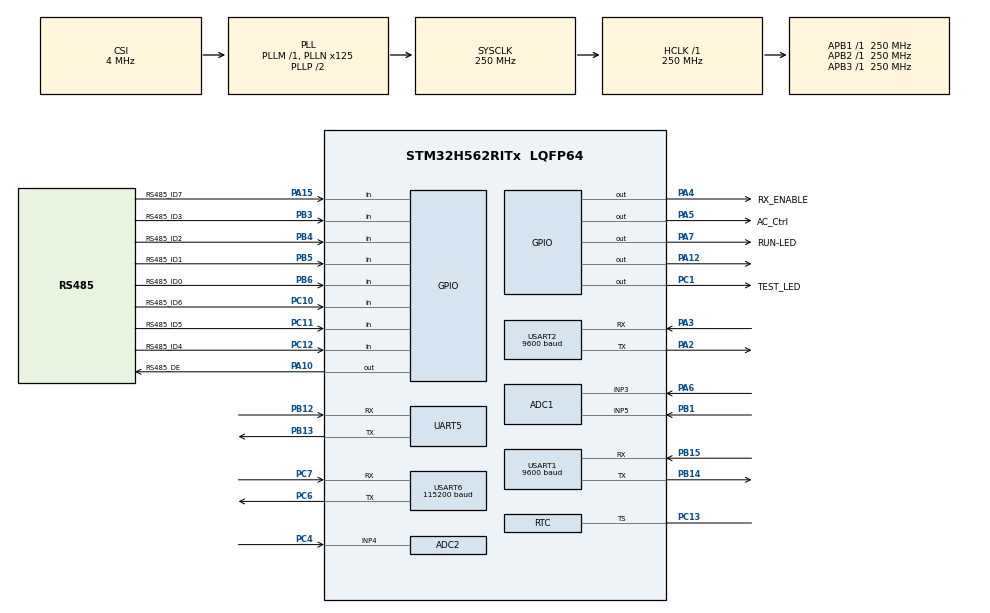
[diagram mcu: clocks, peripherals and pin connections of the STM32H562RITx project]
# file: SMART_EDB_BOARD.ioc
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ADC1.Channel-2\#ChannelRegularConversion=ADC_CHANNEL_3
ADC1.ClockPrescaler=ADC_CLOCK_ASYNC_DIV2
ADC1.ContinuousConvMode=DISABLE
ADC1.ConversionDataManagement=ADC_CONVERSIONDATA_DR
ADC1.DMAContinuousRequests=ENABLE
ADC1.EnableAnalogWatchDog1=false
ADC1.EnableAnalogWatchDog2=false
ADC1.EnableInjectedConversion=ENABLE
ADC1.EnableInjectedOversampling=ENABLE
ADC1.ExternalTrigConv=ADC_EXTERNALTRIG_T6_TRGO
ADC1.InjMonitoredBy-5\#ChannelInjectedConversion=__NULL
ADC1.InjNumberOfConversion=1
ADC1.InjOversamplingRatio=ADC_OVERSAMPLING_RATIO_2
ADC1.InjOversamplingRightShift=ADC_RIGHTBITSHIFT_1
ADC1.InjectedChannel-5\#ChannelInjectedConversion=ADC_CHANNEL_5
ADC1.InjectedOffsetNumber-5\#ChannelInjectedConversion=ADC_OFFSET_NONE
ADC1.InjectedRank-5\#ChannelInjectedConversion=1
ADC1.InjectedSamplingTime-5\#ChannelInjectedConversion=ADC_SAMPLETIME_24CYCLES_5
ADC1.MonitoredBy-2\#ChannelRegularConversion=__NULL
ADC1.NbrOfConversion=1
ADC1.NbrOfConversionFlag=1
ADC1.OffsetNumber-2\#ChannelRegularConversion=ADC_OFFSET_NONE
ADC1.Rank-2\#ChannelRegularConversion=1
ADC1.SamplingTime-2\#ChannelRegularConversion=ADC_SAMPLETIME_6CYCLES_5
ADC1.master=1
ADC2.Channel-0\#ChannelRegularConversion=ADC_CHANNEL_4
ADC2.ClockPrescaler=ADC_CLOCK_ASYNC_DIV2
ADC2.MonitoredBy-0\#ChannelRegularConversion=__NULL
ADC2.NbrOfConversionFlag=1
ADC2.OffsetNumber-0\#ChannelRegularConversion=ADC_OFFSET_NONE
ADC2.Rank-0\#ChannelRegularConversion=1
ADC2.SamplingTime-0\#ChannelRegularConversion=ADC_SAMPLETIME_2CYCLES_5
BOOTPATH.BootPathName=LEGACY
BOOTPATH.UserSelectedBootPath=LEGACY
CORTEX_M33_NS.userName=CORTEX_M33
GPDMA1.CIRCULARMODE_GPDMACH5=ENABLE
GPDMA1.DESTDATAWIDTH_GPDMACH5=DMA_DEST_DATAWIDTH_HALFWORD
GPDMA1.DESTINC_GPDMACH5=DMA_DINC_INCREMENTED
GPDMA1.IPHANDLE_GPDMACH5-SIMPLEREQUEST_GPDMACH5=__NULL
GPDMA1.PRIORITY_LL_CIRCULAR_GPDMACH5=DMA_LOW_PRIORITY_HIGH_WEIGHT
GPDMA1.REQUEST_GPDMACH5=GPDMA1_REQUEST_ADC1
GPDMA1.SRCDATAWIDTH_GPDMACH5=DMA_SRC_DATAWIDTH_HALFWORD
Mcu.Family=STM32H5
Mcu.Name=STM32H562RITx
Mcu.Package=LQFP64
NVIC.ADC1_IRQn=true\:0\:0\:false\:false\:true\:true\:true\:true
NVIC.ADC2_IRQn=true\:0\:0\:false\:false\:true\:true\:true\:true
NVIC.GPDMA1_Channel5_IRQn=true\:0\:0\:false\:false\:true\:false\:true\:true
NVIC.PriorityGroup=NVIC_PRIORITYGROUP_4
NVIC.USART1_IRQn=true\:0\:0\:false\:false\:true\:true\:true\:true
NVIC.USART2_IRQn=true\:0\:0\:false\:false\:true\:true\:true\:true
NVIC.USART6_IRQn=true\:0\:0\:false\:false\:true\:true\:true\:true
PA10.GPIO_Label=RS485_DE
PA10.Signal=GPIO_Output
PA12.Signal=GPIO_Output
PA13(JTMS/SWDIO).Mode=Serial_Wire
PA13(JTMS/SWDIO).Signal=DEBUG_JTMS-SWDIO
PA14(JTCK/SWCLK).Mode=Serial_Wire
PA14(JTCK/SWCLK).Signal=DEBUG_JTCK-SWCLK
PA15.GPIO_Label=RS485_ID7
PA15.GPIO_PuPd=GPIO_PULLDOWN
PA15.Signal=GPIO_Input
PA2.Mode=Asynchronous
PA2.Signal=USART2_TX
PA3.Mode=Asynchronous
PA3.Signal=USART2_RX
PA4.GPIO_Label=RX_ENABLE
PA4.Signal=GPIO_Output
PA5.GPIO_Label=AC_Ctrl
PA5.PinState=GPIO_PIN_SET
PA5.Signal=GPIO_Output
PA6.Signal=ADCx_INP3
PA7.GPIO_Label=RUN-LED
PA7.Signal=GPIO_Output
PB1.Signal=ADCx_INP5
PB3.GPIO_Label=RS485_ID3
PB3.GPIO_PuPd=GPIO_PULLDOWN
PB3.Signal=GPIO_Input
PB4.GPIO_Label=RS485_ID2
PB4.GPIO_PuPd=GPIO_PULLDOWN
PB4.Signal=GPIO_Input
PB5.GPIO_Label=RS485_ID1
PB5.GPIO_PuPd=GPIO_PULLDOWN
PB5.Signal=GPIO_Input
PB6.GPIO_Label=RS485_ID0
PB6.GPIO_PuPd=GPIO_PULLDOWN
PB6.Signal=GPIO_Input
PB12.Mode=Asynchronous
PB12.Signal=UART5_RX
PB13.Mode=Asynchronous
PB13.Signal=UART5_TX
PB14.Mode=Asynchronous
PB14.Signal=USART1_TX
PB15.Mode=Asynchronous
PB15.Signal=USART1_RX
PC1.GPIO_Label=TEST_LED
PC1.Signal=GPIO_Output
PC13.Mode=Timestamp enabled
PC13.Signal=RTC_TS
PC14-OSC32_IN(OSC32_IN).Mode=LSE-External-Oscillator
PC14-OSC32_IN(OSC32_IN).Signal=RCC_OSC32_IN
PC15-OSC32_OUT(OSC32_OUT).Mode=LSE-External-Oscillator
PC15-OSC32_OUT(OSC32_OUT).Signal=RCC_OSC32_OUT
PC4.Signal=ADCx_INP4
PC6.Mode=Asynchronous
PC6.Signal=USART6_TX
PC7.Mode=Asynchronous
PC7.Signal=USART6_RX
PC10.GPIO_Label=RS485_ID6
PC10.GPIO_PuPd=GPIO_PULLDOWN
PC10.Signal=GPIO_Input
PC11.GPIO_Label=RS485_ID5
PC11.GPIO_PuPd=GPIO_PULLDOWN
PC11.Signal=GPIO_Input
PC12.GPIO_Label=RS485_ID4
PC12.GPIO_PuPd=GPIO_PULLDOWN
PC12.Signal=GPIO_Input
PH0-OSC_IN(PH0).Mode=HSE-External-Oscillator
PH0-OSC_IN(PH0).Signal=RCC_OSC_IN
PH1-OSC_OUT(PH1).Mode=HSE-External-Oscillator
PH1-OSC_OUT(PH1).Signal=RCC_OSC_OUT
ProjectManager.HeapSize=0x800
ProjectManager.StackSize=0x800
ProjectManager.TargetToolchain=STM32CubeIDE
RCC.ADCCLockSelection=RCC_ADCDACCLKSOURCE_PLL2R
RCC.ADCFreq_Value=21739130.43478261
RCC.AHBFreq_Value=250000000
RCC.APB1Freq_Value=250000000
RCC.APB1TimFreq_Value=250000000
RCC.APB2Freq_Value=250000000
RCC.APB2TimFreq_Value=250000000
RCC.APB3Freq_Value=250000000
RCC.CSI_VALUE=4000000
RCC.CortexFreq_Value=250000000
RCC.EPOD_VALUE=4000000
RCC.HCLKFreq_Value=250000000
RCC.HSE_VALUE=25000000
RCC.HSI48_VALUE=48000000
RCC.HSI_VALUE=64000000
RCC.LSIRC_VALUE=32000
RCC.PLL2FRACN=0
RCC.PLL2M=5
RCC.PLL2N=100
RCC.PLL2R=23
RCC.PLL2Source=RCC_PLL2_SOURCE_HSE
RCC.PLL3FRACN=0
RCC.PLLFRACN=0
RCC.PLLN=125
RCC.RTCClockSelection=RCC_RTCCLKSOURCE_LSE
RCC.SYSCLKFreq_VALUE=250000000
RCC.SYSCLKSource=RCC_SYSCLKSOURCE_PLLCLK
RCC.USBFreq_Value=48000000
RCC.VCOOutputFreq_Value=500000000
SH.ADCx_INP3.0=ADC1_INP3,IN3-Single-Ended
SH.ADCx_INP4.0=ADC2_INP4,IN4-Single-Ended
SH.ADCx_INP5.0=ADC1_INP5,IN5-Single-Ended
TIM2.PeriodNoDither=276
TIM2.Prescaler=0
TIM2.TIM_MasterOutputTrigger=TIM_TRGO_UPDATE
TIM6.PeriodNoDither=624
TIM6.TIM_MasterOutputTrigger=TIM_TRGO_UPDATE
USART1.BaudRate=9600
USART1.VirtualMode=VM_ASYNC
USART1.VirtualMode-Asynchronous=VM_ASYNC
USART2.BaudRate=9600
USART2.VirtualMode=VM_ASYNC
USART2.VirtualMode-Asynchronous=VM_ASYNC
USART6.BaudRate=115200
USART6.VirtualMode=VM_ASYNC
VP_BOOTPATH_VS_BOOTPATH.Mode=BP_Activate
VP_CORTEX_M33_NS_VS_Hclk.Mode=Hclk_Mode
VP_GPDMA1_VS_GPDMACH5.Mode=SIMPLEREQUEST_GPDMACH5
VP_MEMORYMAP_VS_MEMORYMAP.Mode=CurAppReg
VP_PWR_VS_DBSignals.Mode=DisableDeadBatterySignals
VP_PWR_VS_LPOM.Mode=PowerOptimisation
VP_PWR_VS_SECSignals.Mode=Security/Privilege
VP_RTC_VS_RTC_Activate.Mode=RTC_Enabled
VP_RTC_VS_RTC_Calendar.Mode=RTC_Calendar
VP_TIM2_VS_ClockSourceINT.Mode=Internal
VP_TIM6_VS_ClockSourceINT.Mode=Enable_Timer
board=custom

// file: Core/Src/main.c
/* USER CODE BEGIN Header */
/**
  ******************************************************************************
  * @file           : main.c
  * @brief          : Main program body
  ******************************************************************************
  * @attention
  *
  * Copyright (c) 2026 STMicroelectronics.
  * All rights reserved.
  *
  * This software is licensed under terms that can be found in the LICENSE file
  * in the root directory of this software component.
  * If no LICENSE file comes with this software, it is provided AS-IS.
  *
  ******************************************************************************
  */
/* USER CODE END Header */
#include "main.h"

/* USER CODE BEGIN Includes */
#include "adc_ctrl.h"
#include "bl0942.h"
#include "mcs1806.h"
#include "power_monitor.h"
#include "rs485.h"
#include "display_protocol.h"
#include <stdio.h>
#include <string.h>
/* USER CODE END Includes */

/* USER CODE BEGIN PD */
#define CONSOLE_REPORT_INTERVAL_MS  1000U
#define CONSOLE_RS485_TEST_PEER_ID  0U
#define CONSOLE_TX_TIMEOUT_MS       100U
#define RUN_LED_TOGGLE_INTERVAL_MS  1000U
#define RS485_ID_SWITCH_ACTIVE_LOW  0U
/* USER CODE END PD */

ADC_HandleTypeDef hadc1;
ADC_HandleTypeDef hadc2;
DMA_NodeTypeDef Node_GPDMA1_Channel5;
DMA_QListTypeDef List_GPDMA1_Channel5;
DMA_HandleTypeDef handle_GPDMA1_Channel5;

RTC_HandleTypeDef hrtc;

TIM_HandleTypeDef htim2;
TIM_HandleTypeDef htim6;

UART_HandleTypeDef huart5;
UART_HandleTypeDef huart1;
UART_HandleTypeDef huart2;
UART_HandleTypeDef huart6;

/* USER CODE BEGIN PV */
static uint32_t console_last_report_ms;
static uint32_t run_led_last_toggle_ms;
static uint8_t console_rx_byte;
static uint8_t board_dip_id;
static bool board_dip_id_valid;
/* USER CODE END PV */

void SystemClock_Config(void);
void PeriphCommonClock_Config(void);
static void MX_GPIO_Init(void);
static void MX_GPDMA1_Init(void);
static void MX_USART1_UART_Init(void);
static void MX_USART2_UART_Init(void);
static void MX_ADC1_Init(void);
static void MX_USART6_UART_Init(void);
static void MX_TIM2_Init(void);
static void MX_ADC2_Init(void);
static void MX_RTC_Init(void);
static void MX_TIM6_Init(void);
static void MX_UART5_Init(void);
/* USER CODE BEGIN PFP */
static void Console_Init(void);
static void Console_Process(void);
static void Console_PrintStatus(void);
static void Console_RunRS485SelfTest(void);
static void RunLed_Process(void);
static uint8_t Board_ReadRS485Id(void);
/* USER CODE END PFP */

/* USER CODE BEGIN 0 */
static int32_t Console_ToMilli(float value)
{
  float scaled = value * 1000.0f;

  if (scaled >= 2147483647.0f)
  {
    return INT32_MAX;
  }
  if (scaled <= -2147483648.0f)
  {
    return INT32_MIN;
  }
  return (int32_t)scaled;
}

static void Console_Write(const char *text)
{
  if (text != NULL)
  {
    (void)HAL_UART_Transmit(&huart6, (const uint8_t *)text,
                            (uint16_t)strlen(text), CONSOLE_TX_TIMEOUT_MS);
  }
}

static uint8_t Board_ReadRS485Id(void)
{
  static GPIO_TypeDef *const ports[8] = {
      RS485_ID0_GPIO_Port, RS485_ID1_GPIO_Port,
      RS485_ID2_GPIO_Port, RS485_ID3_GPIO_Port,
      RS485_ID4_GPIO_Port, RS485_ID5_GPIO_Port,
      RS485_ID6_GPIO_Port, RS485_ID7_GPIO_Port
  };
  static const uint16_t pins[8] = {
      RS485_ID0_Pin, RS485_ID1_Pin, RS485_ID2_Pin, RS485_ID3_Pin,
      RS485_ID4_Pin, RS485_ID5_Pin, RS485_ID6_Pin, RS485_ID7_Pin
  };
  uint8_t id = 0U;
  uint8_t bit;

  for (bit = 0U; bit < 8U; ++bit)
  {
    bool pin_high = (HAL_GPIO_ReadPin(ports[bit], pins[bit]) == GPIO_PIN_SET);
    bool switch_on = (RS485_ID_SWITCH_ACTIVE_LOW != 0U) ? !pin_high : pin_high;

    if (switch_on)
    {
      id |= (uint8_t)(1U << bit);
    }
  }
  return id;
}

static void RunLed_Process(void)
{
  uint32_t now = HAL_GetTick();

  if ((uint32_t)(now - run_led_last_toggle_ms) >=
      RUN_LED_TOGGLE_INTERVAL_MS)
  {
    run_led_last_toggle_ms = now;
    HAL_GPIO_TogglePin(RUN_LED_GPIO_Port, RUN_LED_Pin);
  }
}
/* USER CODE END 0 */

int main(void)
{

  /* MCU Configuration--------------------------------------------------------*/

  /* Reset of all peripherals, Initializes the Flash interface and the Systick. */
  HAL_Init();

  /* Configure the system clock */
  SystemClock_Config();

  /* Configure the peripherals common clocks */
  PeriphCommonClock_Config();

  /* Initialize all configured peripherals */
  MX_GPIO_Init();
  MX_GPDMA1_Init();
  MX_USART1_UART_Init();
  MX_USART2_UART_Init();
  MX_ADC1_Init();
  MX_USART6_UART_Init();
  MX_TIM2_Init();
  MX_ADC2_Init();
  MX_RTC_Init();
  MX_TIM6_Init();
  MX_UART5_Init();
  /* USER CODE BEGIN 2 */

  /* Application module initialization */
  ADC_CTRL_Init();
  BL0942_Init();
  MCS1806_Init();
  RS485_Init();
  board_dip_id = Board_ReadRS485Id();
  board_dip_id_valid = ((board_dip_id > 0U) &&
                        (board_dip_id < RS485_BROADCAST_ID));
  if (board_dip_id_valid)
  {
    RS485_SetLocalId(board_dip_id);
  }
  PowerMonitor_Init();
  DisplayProtocol_Init();
  Console_Init();
  run_led_last_toggle_ms = HAL_GetTick();

  /* USER CODE END 2 */

  /* Infinite loop */
  while (1)
  {

    /* USER CODE BEGIN 3 */

    PowerMonitor_Update();
    DisplayProtocol_Process();
    Console_Process();
    RunLed_Process();

  }
  /* USER CODE END 3 */
}

void SystemClock_Config(void)
{
  RCC_OscInitTypeDef RCC_OscInitStruct = {0};
  RCC_ClkInitTypeDef RCC_ClkInitStruct = {0};

  /** Configure the main internal regulator output voltage
  */
  __HAL_PWR_VOLTAGESCALING_CONFIG(PWR_REGULATOR_VOLTAGE_SCALE0);

  while(!__HAL_PWR_GET_FLAG(PWR_FLAG_VOSRDY)) {}

  /** Configure LSE Drive Capability
  *  Warning : Only applied when the LSE is disabled.
  */
  HAL_PWR_EnableBkUpAccess();
  __HAL_RCC_LSEDRIVE_CONFIG(RCC_LSEDRIVE_LOW);

  /** Initializes the RCC Oscillators according to the specified parameters
  * in the RCC_OscInitTypeDef structure.
  */
  RCC_OscInitStruct.OscillatorType = RCC_OSCILLATORTYPE_HSE|RCC_OSCILLATORTYPE_LSE
                              |RCC_OSCILLATORTYPE_CSI;
  RCC_OscInitStruct.HSEState = RCC_HSE_ON;
  RCC_OscInitStruct.LSEState = RCC_LSE_ON;
  RCC_OscInitStruct.CSIState = RCC_CSI_ON;
  RCC_OscInitStruct.CSICalibrationValue = RCC_CSICALIBRATION_DEFAULT;
  RCC_OscInitStruct.PLL.PLLState = RCC_PLL_ON;
  RCC_OscInitStruct.PLL.PLLSource = RCC_PLL1_SOURCE_CSI;
  RCC_OscInitStruct.PLL.PLLM = 1;
  RCC_OscInitStruct.PLL.PLLN = 125;
  RCC_OscInitStruct.PLL.PLLP = 2;
  RCC_OscInitStruct.PLL.PLLQ = 2;
  RCC_OscInitStruct.PLL.PLLR = 2;
  RCC_OscInitStruct.PLL.PLLRGE = RCC_PLL1_VCIRANGE_2;
  RCC_OscInitStruct.PLL.PLLVCOSEL = RCC_PLL1_VCORANGE_WIDE;
  RCC_OscInitStruct.PLL.PLLFRACN = 0;
  if (HAL_RCC_OscConfig(&RCC_OscInitStruct) != HAL_OK)
  {
    Error_Handler();
  }

  /** Initializes the CPU, AHB and APB buses clocks
  */
  RCC_ClkInitStruct.ClockType = RCC_CLOCKTYPE_HCLK|RCC_CLOCKTYPE_SYSCLK
                              |RCC_CLOCKTYPE_PCLK1|RCC_CLOCKTYPE_PCLK2
                              |RCC_CLOCKTYPE_PCLK3;
  RCC_ClkInitStruct.SYSCLKSource = RCC_SYSCLKSOURCE_PLLCLK;
  RCC_ClkInitStruct.AHBCLKDivider = RCC_SYSCLK_DIV1;
  RCC_ClkInitStruct.APB1CLKDivider = RCC_HCLK_DIV1;
  RCC_ClkInitStruct.APB2CLKDivider = RCC_HCLK_DIV1;
  RCC_ClkInitStruct.APB3CLKDivider = RCC_HCLK_DIV1;

  if (HAL_RCC_ClockConfig(&RCC_ClkInitStruct, FLASH_LATENCY_5) != HAL_OK)
  {
    Error_Handler();
  }

  /** Configure the programming delay
  */
  __HAL_FLASH_SET_PROGRAM_DELAY(FLASH_PROGRAMMING_DELAY_2);
}

void PeriphCommonClock_Config(void)
{
  RCC_PeriphCLKInitTypeDef PeriphClkInitStruct = {0};

  /** Initializes the peripherals clock
  */
  PeriphClkInitStruct.PeriphClockSelection = RCC_PERIPHCLK_ADCDAC;
  PeriphClkInitStruct.PLL2.PLL2Source = RCC_PLL2_SOURCE_HSE;
  PeriphClkInitStruct.PLL2.PLL2M = 5;
  PeriphClkInitStruct.PLL2.PLL2N = 100;
  PeriphClkInitStruct.PLL2.PLL2P = 2;
  PeriphClkInitStruct.PLL2.PLL2Q = 2;
  PeriphClkInitStruct.PLL2.PLL2R = 23;
  PeriphClkInitStruct.PLL2.PLL2RGE = RCC_PLL2_VCIRANGE_2;
  PeriphClkInitStruct.PLL2.PLL2VCOSEL = RCC_PLL2_VCORANGE_WIDE;
  PeriphClkInitStruct.PLL2.PLL2FRACN = 0;
  PeriphClkInitStruct.PLL2.PLL2ClockOut = RCC_PLL2_DIVR;
  PeriphClkInitStruct.AdcDacClockSelection = RCC_ADCDACCLKSOURCE_PLL2R;
  if (HAL_RCCEx_PeriphCLKConfig(&PeriphClkInitStruct) != HAL_OK)
  {
    Error_Handler();
  }
}

static void MX_ADC1_Init(void)
{

  ADC_ChannelConfTypeDef sConfig = {0};
  ADC_InjectionConfTypeDef sConfigInjected = {0};

  /** Common config
  */
  hadc1.Instance = ADC1;
  hadc1.Init.ClockPrescaler = ADC_CLOCK_ASYNC_DIV2;
  hadc1.Init.Resolution = ADC_RESOLUTION_12B;
  hadc1.Init.DataAlign = ADC_DATAALIGN_RIGHT;
  hadc1.Init.ScanConvMode = ADC_SCAN_ENABLE;
  hadc1.Init.EOCSelection = ADC_EOC_SINGLE_CONV;
  hadc1.Init.LowPowerAutoWait = DISABLE;
  hadc1.Init.ContinuousConvMode = DISABLE;
  hadc1.Init.NbrOfConversion = 1;
  hadc1.Init.DiscontinuousConvMode = DISABLE;
  hadc1.Init.ExternalTrigConv = ADC_EXTERNALTRIG_T6_TRGO;
  hadc1.Init.ExternalTrigConvEdge = ADC_EXTERNALTRIGCONVEDGE_RISING;
  hadc1.Init.DMAContinuousRequests = ENABLE;
  hadc1.Init.SamplingMode = ADC_SAMPLING_MODE_NORMAL;
  hadc1.Init.Overrun = ADC_OVR_DATA_PRESERVED;
  hadc1.Init.OversamplingMode = DISABLE;
  if (HAL_ADC_Init(&hadc1) != HAL_OK)
  {
    Error_Handler();
  }

  /** Disable Injected Queue
  */
  HAL_ADCEx_DisableInjectedQueue(&hadc1);

  /** Configure Regular Channel
  */
  sConfig.Channel = ADC_CHANNEL_3;
  sConfig.Rank = ADC_REGULAR_RANK_1;
  sConfig.SamplingTime = ADC_SAMPLETIME_6CYCLES_5;
  sConfig.SingleDiff = ADC_SINGLE_ENDED;
  sConfig.OffsetNumber = ADC_OFFSET_NONE;
  sConfig.Offset = 0;
  if (HAL_ADC_ConfigChannel(&hadc1, &sConfig) != HAL_OK)
  {
    Error_Handler();
  }

  /** Configure Injected Channel
  */
  sConfigInjected.InjectedChannel = ADC_CHANNEL_5;
  sConfigInjected.InjectedRank = ADC_INJECTED_RANK_1;
  sConfigInjected.InjectedSamplingTime = ADC_SAMPLETIME_24CYCLES_5;
  sConfigInjected.InjectedSingleDiff = ADC_SINGLE_ENDED;
  sConfigInjected.InjectedOffsetNumber = ADC_OFFSET_NONE;
  sConfigInjected.InjectedOffset = 0;
  sConfigInjected.InjectedNbrOfConversion = 1;
  sConfigInjected.InjectedDiscontinuousConvMode = DISABLE;
  sConfigInjected.AutoInjectedConv = DISABLE;
  sConfigInjected.QueueInjectedContext = DISABLE;
  sConfigInjected.ExternalTrigInjecConv = ADC_INJECTED_SOFTWARE_START;
  sConfigInjected.ExternalTrigInjecConvEdge = ADC_EXTERNALTRIGINJECCONV_EDGE_NONE;
  sConfigInjected.InjecOversamplingMode = ENABLE;
  sConfigInjected.InjecOversampling.Ratio = ADC_OVERSAMPLING_RATIO_2;
  sConfigInjected.InjecOversampling.RightBitShift = ADC_RIGHTBITSHIFT_1;
  if (HAL_ADCEx_InjectedConfigChannel(&hadc1, &sConfigInjected) != HAL_OK)
  {
    Error_Handler();
  }

}

static void MX_ADC2_Init(void)
{

  ADC_ChannelConfTypeDef sConfig = {0};

  /** Common config
  */
  hadc2.Instance = ADC2;
  hadc2.Init.ClockPrescaler = ADC_CLOCK_ASYNC_DIV2;
  hadc2.Init.Resolution = ADC_RESOLUTION_12B;
  hadc2.Init.DataAlign = ADC_DATAALIGN_RIGHT;
  hadc2.Init.ScanConvMode = ADC_SCAN_DISABLE;
  hadc2.Init.EOCSelection = ADC_EOC_SINGLE_CONV;
  hadc2.Init.LowPowerAutoWait = DISABLE;
  hadc2.Init.ContinuousConvMode = DISABLE;
  hadc2.Init.NbrOfConversion = 1;
  hadc2.Init.DiscontinuousConvMode = DISABLE;
  hadc2.Init.ExternalTrigConv = ADC_SOFTWARE_START;
  hadc2.Init.ExternalTrigConvEdge = ADC_EXTERNALTRIGCONVEDGE_NONE;
  hadc2.Init.DMAContinuousRequests = DISABLE;
  hadc2.Init.SamplingMode = ADC_SAMPLING_MODE_NORMAL;
  hadc2.Init.Overrun = ADC_OVR_DATA_PRESERVED;
  hadc2.Init.OversamplingMode = DISABLE;
  if (HAL_ADC_Init(&hadc2) != HAL_OK)
  {
    Error_Handler();
  }

  /** Configure Regular Channel
  */
  sConfig.Channel = ADC_CHANNEL_4;
  sConfig.Rank = ADC_REGULAR_RANK_1;
  sConfig.SamplingTime = ADC_SAMPLETIME_2CYCLES_5;
  sConfig.SingleDiff = ADC_SINGLE_ENDED;
  sConfig.OffsetNumber = ADC_OFFSET_NONE;
  sConfig.Offset = 0;
  if (HAL_ADC_ConfigChannel(&hadc2, &sConfig) != HAL_OK)
  {
    Error_Handler();
  }

}

static void MX_GPDMA1_Init(void)
{

  /* Peripheral clock enable */
  __HAL_RCC_GPDMA1_CLK_ENABLE();

  /* GPDMA1 interrupt Init */
    HAL_NVIC_SetPriority(GPDMA1_Channel5_IRQn, 0, 0);
    HAL_NVIC_EnableIRQ(GPDMA1_Channel5_IRQn);

}

static void MX_RTC_Init(void)
{

  RTC_PrivilegeStateTypeDef privilegeState = {0};
  RTC_TimeTypeDef sTime = {0};
  RTC_DateTypeDef sDate = {0};

  /** Initialize RTC Only
  */
  hrtc.Instance = RTC;
  hrtc.Init.HourFormat = RTC_HOURFORMAT_24;
  hrtc.Init.AsynchPrediv = 127;
  hrtc.Init.SynchPrediv = 255;
  hrtc.Init.OutPut = RTC_OUTPUT_DISABLE;
  hrtc.Init.OutPutRemap = RTC_OUTPUT_REMAP_NONE;
  hrtc.Init.OutPutPolarity = RTC_OUTPUT_POLARITY_HIGH;
  hrtc.Init.OutPutType = RTC_OUTPUT_TYPE_OPENDRAIN;
  hrtc.Init.OutPutPullUp = RTC_OUTPUT_PULLUP_NONE;
  hrtc.Init.BinMode = RTC_BINARY_NONE;
  if (HAL_RTC_Init(&hrtc) != HAL_OK)
  {
    Error_Handler();
  }
  privilegeState.rtcPrivilegeFull = RTC_PRIVILEGE_FULL_NO;
  privilegeState.backupRegisterPrivZone = RTC_PRIVILEGE_BKUP_ZONE_NONE;
  privilegeState.backupRegisterStartZone2 = RTC_BKP_DR0;
  privilegeState.backupRegisterStartZone3 = RTC_BKP_DR0;
  if (HAL_RTCEx_PrivilegeModeSet(&hrtc, &privilegeState) != HAL_OK)
  {
    Error_Handler();
  }

  /** Initialize RTC and set the Time and Date
  */
  sTime.Hours = 0x0;
  sTime.Minutes = 0x0;
  sTime.Seconds = 0x0;
  sTime.DayLightSaving = RTC_DAYLIGHTSAVING_NONE;
  sTime.StoreOperation = RTC_STOREOPERATION_RESET;
  if (HAL_RTC_SetTime(&hrtc, &sTime, RTC_FORMAT_BCD) != HAL_OK)
  {
    Error_Handler();
  }
  sDate.WeekDay = RTC_WEEKDAY_MONDAY;
  sDate.Month = RTC_MONTH_JANUARY;
  sDate.Date = 0x1;
  sDate.Year = 0x0;
  if (HAL_RTC_SetDate(&hrtc, &sDate, RTC_FORMAT_BCD) != HAL_OK)
  {
    Error_Handler();
  }

  /** Enable the TimeStamp
  */
  if (HAL_RTCEx_SetTimeStamp(&hrtc, RTC_TIMESTAMPEDGE_RISING, RTC_TIMESTAMPPIN_DEFAULT) != HAL_OK)
  {
    Error_Handler();
  }

}

static void MX_TIM2_Init(void)
{

  TIM_ClockConfigTypeDef sClockSourceConfig = {0};
  TIM_MasterConfigTypeDef sMasterConfig = {0};

  htim2.Instance = TIM2;
  htim2.Init.Prescaler = 0;
  htim2.Init.CounterMode = TIM_COUNTERMODE_UP;
  htim2.Init.Period = 276;
  htim2.Init.ClockDivision = TIM_CLOCKDIVISION_DIV1;
  htim2.Init.AutoReloadPreload = TIM_AUTORELOAD_PRELOAD_DISABLE;
  if (HAL_TIM_Base_Init(&htim2) != HAL_OK)
  {
    Error_Handler();
  }
  sClockSourceConfig.ClockSource = TIM_CLOCKSOURCE_INTERNAL;
  if (HAL_TIM_ConfigClockSource(&htim2, &sClockSourceConfig) != HAL_OK)
  {
    Error_Handler();
  }
  sMasterConfig.MasterOutputTrigger = TIM_TRGO_UPDATE;
  sMasterConfig.MasterSlaveMode = TIM_MASTERSLAVEMODE_DISABLE;
  if (HAL_TIMEx_MasterConfigSynchronization(&htim2, &sMasterConfig) != HAL_OK)
  {
    Error_Handler();
  }

}

static void MX_TIM6_Init(void)
{

  TIM_MasterConfigTypeDef sMasterConfig = {0};

  htim6.Instance = TIM6;
  htim6.Init.Prescaler = 0;
  htim6.Init.CounterMode = TIM_COUNTERMODE_UP;
  htim6.Init.Period = 624;
  htim6.Init.AutoReloadPreload = TIM_AUTORELOAD_PRELOAD_DISABLE;
  if (HAL_TIM_Base_Init(&htim6) != HAL_OK)
  {
    Error_Handler();
  }
  sMasterConfig.MasterOutputTrigger = TIM_TRGO_UPDATE;
  sMasterConfig.MasterSlaveMode = TIM_MASTERSLAVEMODE_DISABLE;
  if (HAL_TIMEx_MasterConfigSynchronization(&htim6, &sMasterConfig) != HAL_OK)
  {
    Error_Handler();
  }

}

static void MX_UART5_Init(void)
{

  huart5.Instance = UART5;
  huart5.Init.BaudRate = 115200;
  huart5.Init.WordLength = UART_WORDLENGTH_8B;
  huart5.Init.StopBits = UART_STOPBITS_1;
  huart5.Init.Parity = UART_PARITY_NONE;
  huart5.Init.Mode = UART_MODE_TX_RX;
  huart5.Init.HwFlowCtl = UART_HWCONTROL_NONE;
  huart5.Init.OverSampling = UART_OVERSAMPLING_16;
  huart5.Init.OneBitSampling = UART_ONE_BIT_SAMPLE_DISABLE;
  huart5.Init.ClockPrescaler = UART_PRESCALER_DIV1;
  huart5.AdvancedInit.AdvFeatureInit = UART_ADVFEATURE_NO_INIT;
  if (HAL_UART_Init(&huart5) != HAL_OK)
  {
    Error_Handler();
  }
  if (HAL_UARTEx_SetTxFifoThreshold(&huart5, UART_TXFIFO_THRESHOLD_1_8) != HAL_OK)
  {
    Error_Handler();
  }
  if (HAL_UARTEx_SetRxFifoThreshold(&huart5, UART_RXFIFO_THRESHOLD_1_8) != HAL_OK)
  {
    Error_Handler();
  }
  if (HAL_UARTEx_DisableFifoMode(&huart5) != HAL_OK)
  {
    Error_Handler();
  }

}

static void MX_USART1_UART_Init(void)
{

  huart1.Instance = USART1;
  huart1.Init.BaudRate = 9600;
  huart1.Init.WordLength = UART_WORDLENGTH_8B;
  huart1.Init.StopBits = UART_STOPBITS_1;
  huart1.Init.Parity = UART_PARITY_NONE;
  huart1.Init.Mode = UART_MODE_TX_RX;
  huart1.Init.HwFlowCtl = UART_HWCONTROL_NONE;
  huart1.Init.OverSampling = UART_OVERSAMPLING_16;
  huart1.Init.OneBitSampling = UART_ONE_BIT_SAMPLE_DISABLE;
  huart1.Init.ClockPrescaler = UART_PRESCALER_DIV1;
  huart1.AdvancedInit.AdvFeatureInit = UART_ADVFEATURE_NO_INIT;
  if (HAL_UART_Init(&huart1) != HAL_OK)
  {
    Error_Handler();
  }
  if (HAL_UARTEx_SetTxFifoThreshold(&huart1, UART_TXFIFO_THRESHOLD_1_8) != HAL_OK)
  {
    Error_Handler();
  }
  if (HAL_UARTEx_SetRxFifoThreshold(&huart1, UART_RXFIFO_THRESHOLD_1_8) != HAL_OK)
  {
    Error_Handler();
  }
  if (HAL_UARTEx_DisableFifoMode(&huart1) != HAL_OK)
  {
    Error_Handler();
  }

}

static void MX_USART2_UART_Init(void)
{

  huart2.Instance = USART2;
  huart2.Init.BaudRate = 9600;
  huart2.Init.WordLength = UART_WORDLENGTH_8B;
  huart2.Init.StopBits = UART_STOPBITS_1;
  huart2.Init.Parity = UART_PARITY_NONE;
  huart2.Init.Mode = UART_MODE_TX_RX;
  huart2.Init.HwFlowCtl = UART_HWCONTROL_NONE;
  huart2.Init.OverSampling = UART_OVERSAMPLING_16;
  huart2.Init.OneBitSampling = UART_ONE_BIT_SAMPLE_DISABLE;
  huart2.Init.ClockPrescaler = UART_PRESCALER_DIV1;
  huart2.AdvancedInit.AdvFeatureInit = UART_ADVFEATURE_NO_INIT;
  if (HAL_UART_Init(&huart2) != HAL_OK)
  {
    Error_Handler();
  }
  if (HAL_UARTEx_SetTxFifoThreshold(&huart2, UART_TXFIFO_THRESHOLD_1_8) != HAL_OK)
  {
    Error_Handler();
  }
  if (HAL_UARTEx_SetRxFifoThreshold(&huart2, UART_RXFIFO_THRESHOLD_1_8) != HAL_OK)
  {
    Error_Handler();
  }
  if (HAL_UARTEx_DisableFifoMode(&huart2) != HAL_OK)
  {
    Error_Handler();
  }

}

static void MX_USART6_UART_Init(void)
{

  huart6.Instance = USART6;
  huart6.Init.BaudRate = 115200;
  huart6.Init.WordLength = UART_WORDLENGTH_8B;
  huart6.Init.StopBits = UART_STOPBITS_1;
  huart6.Init.Parity = UART_PARITY_NONE;
  huart6.Init.Mode = UART_MODE_TX_RX;
  huart6.Init.HwFlowCtl = UART_HWCONTROL_NONE;
  huart6.Init.OverSampling = UART_OVERSAMPLING_16;
  huart6.Init.OneBitSampling = UART_ONE_BIT_SAMPLE_DISABLE;
  huart6.Init.ClockPrescaler = UART_PRESCALER_DIV1;
  huart6.AdvancedInit.AdvFeatureInit = UART_ADVFEATURE_NO_INIT;
  if (HAL_UART_Init(&huart6) != HAL_OK)
  {
    Error_Handler();
  }
  if (HAL_UARTEx_SetTxFifoThreshold(&huart6, UART_TXFIFO_THRESHOLD_1_8) != HAL_OK)
  {
    Error_Handler();
  }
  if (HAL_UARTEx_SetRxFifoThreshold(&huart6, UART_RXFIFO_THRESHOLD_1_8) != HAL_OK)
  {
    Error_Handler();
  }
  if (HAL_UARTEx_DisableFifoMode(&huart6) != HAL_OK)
  {
    Error_Handler();
  }

}

static void MX_GPIO_Init(void)
{
  GPIO_InitTypeDef GPIO_InitStruct = {0};

  /* GPIO Ports Clock Enable */
  __HAL_RCC_GPIOC_CLK_ENABLE();
  __HAL_RCC_GPIOH_CLK_ENABLE();
  __HAL_RCC_GPIOA_CLK_ENABLE();
  __HAL_RCC_GPIOB_CLK_ENABLE();

  /*Configure GPIO pin Output Level */
  HAL_GPIO_WritePin(TEST_LED_GPIO_Port, TEST_LED_Pin, GPIO_PIN_RESET);

  /*Configure GPIO pin Output Level */
  HAL_GPIO_WritePin(GPIOA, RX_ENABLE_Pin|RUN_LED_Pin|RS485_DE_Pin|GPIO_PIN_12, GPIO_PIN_RESET);

  /*Configure GPIO pin Output Level */
  HAL_GPIO_WritePin(AC_Ctrl_GPIO_Port, AC_Ctrl_Pin, GPIO_PIN_SET);

  /*Configure GPIO pin : TEST_LED_Pin */
  GPIO_InitStruct.Pin = TEST_LED_Pin;
  GPIO_InitStruct.Mode = GPIO_MODE_OUTPUT_PP;
  GPIO_InitStruct.Pull = GPIO_NOPULL;
  GPIO_InitStruct.Speed = GPIO_SPEED_FREQ_LOW;
  HAL_GPIO_Init(TEST_LED_GPIO_Port, &GPIO_InitStruct);

  /*Configure GPIO pins : RX_ENABLE_Pin AC_Ctrl_Pin RUN_LED_Pin RS485_DE_Pin
                           PA12 */
  GPIO_InitStruct.Pin = RX_ENABLE_Pin|AC_Ctrl_Pin|RUN_LED_Pin|RS485_DE_Pin
                          |GPIO_PIN_12;
  GPIO_InitStruct.Mode = GPIO_MODE_OUTPUT_PP;
  GPIO_InitStruct.Pull = GPIO_NOPULL;
  GPIO_InitStruct.Speed = GPIO_SPEED_FREQ_LOW;
  HAL_GPIO_Init(GPIOA, &GPIO_InitStruct);

  /*Configure GPIO pin : PA13 */
  GPIO_InitStruct.Pin = GPIO_PIN_13;
  GPIO_InitStruct.Mode = GPIO_MODE_AF_PP;
  GPIO_InitStruct.Pull = GPIO_PULLUP;
  GPIO_InitStruct.Speed = GPIO_SPEED_FREQ_LOW;
  GPIO_InitStruct.Alternate = GPIO_AF0_TRACE;
  HAL_GPIO_Init(GPIOA, &GPIO_InitStruct);

  /* The DIP switch drives a selected ID bit high; idle bits stay low. */
  GPIO_InitStruct.Mode = GPIO_MODE_INPUT;
  GPIO_InitStruct.Pull = GPIO_PULLDOWN;
  GPIO_InitStruct.Pin = RS485_ID0_Pin|RS485_ID1_Pin|RS485_ID2_Pin|RS485_ID3_Pin;
  HAL_GPIO_Init(GPIOB, &GPIO_InitStruct);

  GPIO_InitStruct.Pin = RS485_ID4_Pin|RS485_ID5_Pin|RS485_ID6_Pin;
  HAL_GPIO_Init(GPIOC, &GPIO_InitStruct);

  GPIO_InitStruct.Pin = RS485_ID7_Pin;
  HAL_GPIO_Init(GPIOA, &GPIO_InitStruct);

}

/* USER CODE BEGIN 4 */
static void Console_PrintSignedMilli(char *buffer, size_t capacity,
                                     const char *name, int32_t milli,
                                     const char *unit)
{
  uint32_t magnitude;

  if ((buffer == NULL) || (capacity == 0U))
  {
    return;
  }

  magnitude = (milli < 0) ? (uint32_t)(-(int64_t)milli) : (uint32_t)milli;
  (void)snprintf(buffer, capacity, "%s=%s%lu.%03lu%s",
                 name, (milli < 0) ? "-" : "",
                 (unsigned long)(magnitude / 1000U),
                 (unsigned long)(magnitude % 1000U), unit);
}

static void Console_PrintStatus(void)
{
  const PowerMonitor_Data_t *power = PowerMonitor_GetData();
  const DisplayProtocol_Status_t *protocol = DisplayProtocol_GetStatus();
  const BL0942_Diagnostics_t *meter = BL0942_GetDiagnostics();
  char line[384];
  char voltage[32];
  char current[32];
  char auxiliary[32];
  char dc_voltage[32];
  char ntc_voltage[32];
  char temperature[32];
  char power_text[32];
  char frequency[32];
  uint32_t current_gain;
  int length;

  switch (meter->gain_cr_raw & 0x03U)
  {
    case 0U: current_gain = 1U; break;
    case 1U: current_gain = 4U; break;
    case 2U: current_gain = 16U; break;
    default: current_gain = 24U; break;
  }

  Console_PrintSignedMilli(voltage, sizeof(voltage), "voltage_rms",
                           Console_ToMilli(power->voltage_rms), "V");
  Console_PrintSignedMilli(current, sizeof(current), "current_rms",
                           Console_ToMilli(power->current_rms), "A");
  Console_PrintSignedMilli(auxiliary, sizeof(auxiliary), "current",
                           Console_ToMilli(power->auxiliary_current), "A");
  Console_PrintSignedMilli(dc_voltage, sizeof(dc_voltage), "voltage",
                           Console_ToMilli(power->dc_voltage), "V");
  Console_PrintSignedMilli(ntc_voltage, sizeof(ntc_voltage), "adc_voltage",
                           Console_ToMilli(power->ntc_voltage), "V");
  Console_PrintSignedMilli(temperature, sizeof(temperature), "temperature",
                           Console_ToMilli(power->ntc_temperature_c), "C");
  Console_PrintSignedMilli(power_text, sizeof(power_text), "active_power",
                           Console_ToMilli(power->active_power), "W");
  Console_PrintSignedMilli(frequency, sizeof(frequency), "frequency",
                           Console_ToMilli(power->frequency), "Hz");

  length = snprintf(line, sizeof(line),
      "[STATUS AC uptime=%lums] sensor=BL0942 read_status=%s "
      "%s %s %s %s update_success=%lu update_fail=%lu\r\n",
      (unsigned long)HAL_GetTick(), power->meter_valid ? "OK" : "FAIL",
      voltage, current, power_text, frequency,
      (unsigned long)power->successful_updates,
      (unsigned long)power->failed_updates);
  if (length > 0)
  {
    Console_Write(line);
  }

  length = snprintf(line, sizeof(line),
      "[STATUS DC] voltage_status=%s %s current_sensor=MCS1806 %s\r\n",
      power->dc_voltage_valid ? "OK" : "FAIL",
      dc_voltage, auxiliary);
  if (length > 0)
  {
    Console_Write(line);
  }

  length = snprintf(line, sizeof(line),
      "[STATUS NTC] read_status=%s %s %s adc_raw=%u\r\n",
      power->ntc_valid ? "OK" : "FAIL",
      temperature, ntc_voltage, (unsigned int)power->ntc_raw);
  if (length > 0)
  {
    Console_Write(line);
  }

  length = snprintf(line, sizeof(line),
      "[STATUS RS485] node_id=%u rx_packets=%lu tx_packets=%lu "
      "rx_responses=%lu last_response_cmd=0x%02X protocol_errors=%lu\r\n",
      (unsigned int)RS485_GetLocalId(),
      (unsigned long)protocol->received_packets,
      (unsigned long)protocol->transmitted_packets,
      (unsigned long)protocol->received_responses,
      (unsigned int)protocol->last_response_command,
      (unsigned long)protocol->protocol_errors);
  if (length > 0)
  {
    Console_Write(line);
  }

  length = snprintf(line, sizeof(line),
      "[BL0942 DIAG] last_result=%s register=0x%02X hal_status=%u uart_error=0x%lX "
      "tx_failures=%lu rx_timeouts=%lu rx_errors=%lu checksum_errors=%lu "
      "rx_bytes=%u/4 response_hex=%02X %02X %02X %02X "
      "checksum_expected=%02X checksum_received=%02X\r\n",
      BL0942_ResultName(meter->last_result), (unsigned int)meter->reg,
      (unsigned int)meter->hal_status, (unsigned long)meter->uart_error,
      (unsigned long)meter->tx_failures, (unsigned long)meter->rx_timeouts,
      (unsigned long)meter->rx_errors, (unsigned long)meter->checksum_errors,
      (unsigned int)meter->received_bytes,
      (unsigned int)meter->response[0], (unsigned int)meter->response[1],
      (unsigned int)meter->response[2], (unsigned int)meter->response[3],
      (unsigned int)meter->checksum_expected, (unsigned int)meter->checksum_received);
  if (length > 0)
  {
    Console_Write(line);
  }

  length = snprintf(line, sizeof(line),
      "[BL0942 RAW] I_RMS=0x%06lX V_RMS=0x%06lX WATT=0x%06lX "
      "ENERGY=0x%06lX FREQ=0x%06lX GAIN_CR=0x%06lX "
      "CURRENT_GAIN=x%lu GAIN_READ=%s\r\n",
      (unsigned long)(meter->i_rms_raw & 0xFFFFFFUL),
      (unsigned long)(meter->v_rms_raw & 0xFFFFFFUL),
      (unsigned long)(meter->watt_raw & 0xFFFFFFUL),
      (unsigned long)(meter->energy_raw & 0xFFFFFFUL),
      (unsigned long)(meter->frequency_raw & 0xFFFFFFUL),
      (unsigned long)(meter->gain_cr_raw & 0xFFFFFFUL),
      (unsigned long)current_gain,
      meter->gain_cr_valid ? "OK" : "FAIL");
  if (length > 0)
  {
    Console_Write(line);
  }
}

static void Console_RunRS485SelfTest(void)
{
  RS485_Packet_t source;
  RS485_Packet_t decoded;
  uint8_t frame[RS485_MAX_FRAME_SIZE];
  size_t frame_length;
  bool passed;

  memset(&source, 0, sizeof(source));
  memset(&decoded, 0, sizeof(decoded));
  source.destination_id = RS485_GetLocalId();
  source.source_id = 0x22U;
  source.command = 0x55U;
  source.data_length = 4U;
  source.data[0] = 0x12U;
  source.data[1] = 0x34U;
  source.data[2] = 0x56U;
  source.data[3] = 0x78U;

  frame_length = RS485_EncodeFrame(&source, frame, sizeof(frame));
  passed = (frame_length > 0U) &&
           (RS485_DecodeFrame(frame, frame_length, &decoded) == RS485_FRAME_OK) &&
           (decoded.destination_id == source.destination_id) &&
           (decoded.source_id == source.source_id) &&
           (decoded.command == source.command) &&
           (decoded.data_length == source.data_length) &&
           (memcmp(decoded.data, source.data, source.data_length) == 0);

  Console_Write(passed ?
      "[RS485] frame/CRC software self-test: PASS\r\n" :
      "[RS485] frame/CRC software self-test: FAIL\r\n");
}

static void Console_Init(void)
{
  char id_message[96];

  console_last_report_ms = HAL_GetTick();
  Console_Write("\r\nSMART_EDB_BOARD diagnostic console\r\n"
                "UART6: 115200 baud, 8-N-1\r\n"
                "Commands: h=help, s=status, m=measure now, "
                "t=RS485 self-test, p=ping gateway 0, "
                "o=AC relay on, f=AC relay off, 1/2=set local ID\r\n"
                "RS485 physical test requires a powered peer and correct A/B/GND wiring.\r\n");
  Console_RunRS485SelfTest();
  (void)snprintf(id_message, sizeof(id_message),
                 "[RS485] DIP ID=%u local_id=%u status=%s "
                 "(valid board IDs: 1..254)\r\n",
                 (unsigned int)board_dip_id,
                 (unsigned int)RS485_GetLocalId(),
                 board_dip_id_valid ? "OK" : "INVALID");
  Console_Write(id_message);
}

static void Console_Process(void)
{
  uint32_t now = HAL_GetTick();

  if ((uint32_t)(now - console_last_report_ms) >= CONSOLE_REPORT_INTERVAL_MS)
  {
    console_last_report_ms = now;
    Console_PrintStatus();
  }

  if (HAL_UART_Receive(&huart6, &console_rx_byte, 1U, 0U) != HAL_OK)
  {
    return;
  }

  switch (console_rx_byte)
  {
    case 's':
    case 'S':
      Console_PrintStatus();
      break;

    case 'm':
    case 'M':
      Console_Write(PowerMonitor_ForceUpdate() ?
                    "[MEASURE] update: OK\r\n" :
                    "[MEASURE] update: FAIL\r\n");
      Console_PrintStatus();
      break;

    case 't':
    case 'T':
      Console_RunRS485SelfTest();
      break;

    case 'p':
    case 'P':
      Console_Write(DisplayProtocol_SendPing(CONSOLE_RS485_TEST_PEER_ID) == HAL_OK ?
                    "[RS485] ping sent to gateway 0; check rsp counter.\r\n" :
                    "[RS485] ping transmit failed.\r\n");
      break;

    case 'o':
    case 'O':
      DisplayProtocol_SetACOutput(true);
      Console_Write("[AC RELAY] ON (PA5=HIGH)\r\n");
      break;

    case 'f':
    case 'F':
      DisplayProtocol_SetACOutput(false);
      Console_Write("[AC RELAY] OFF (PA5=LOW)\r\n");
      break;

    case '1':
      RS485_SetLocalId(1U);
      Console_Write("[RS485] local node ID set to 1.\r\n");
      break;

    case '2':
      RS485_SetLocalId(2U);
      Console_Write("[RS485] local node ID set to 2.\r\n");
      break;

    case 'h':
    case 'H':
      Console_Write("Commands: h=help, s=status, m=measure now, "
                    "t=RS485 self-test, p=ping gateway 0, "
                    "o=AC relay on, f=AC relay off, 1/2=set local ID\r\n");
      break;

    case '\r':
    case '\n':
      break;

    default:
      Console_Write("Unknown command. Press h for help.\r\n");
      break;
  }
}

/* USER CODE END 4 */

void Error_Handler(void)
{
  __disable_irq();
  while (1)
  {
  }
}
